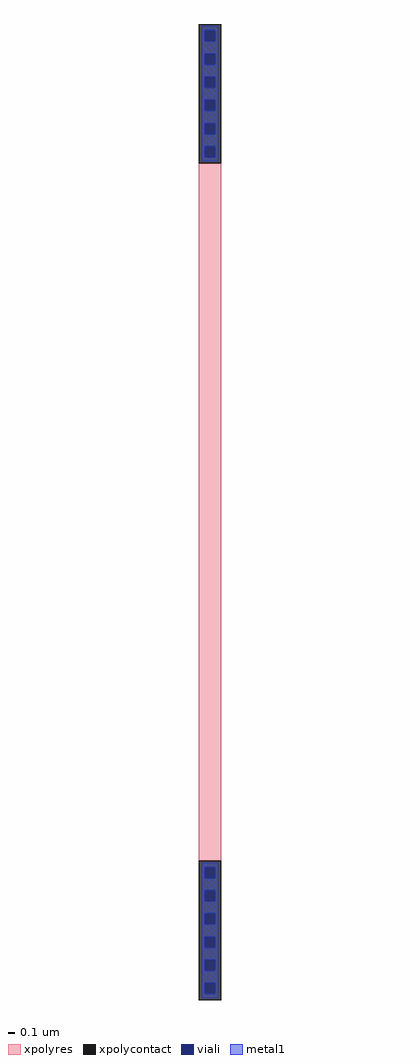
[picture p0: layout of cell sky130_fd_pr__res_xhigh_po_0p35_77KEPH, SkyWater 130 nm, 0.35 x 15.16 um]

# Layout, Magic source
magic
tech sky130A
magscale 1 2
<< xpolycontact >>
rect -35 1084 35 1516
rect -35 -1516 35 -1084
<< xpolyres >>
rect -35 -1084 35 1084
<< viali >>
rect -17 1462 17 1496
rect -17 1390 17 1424
rect -17 1318 17 1352
rect -17 1246 17 1280
rect -17 1174 17 1208
rect -17 1102 17 1136
rect -17 -1137 17 -1103
rect -17 -1209 17 -1175
rect -17 -1281 17 -1247
rect -17 -1353 17 -1319
rect -17 -1425 17 -1391
rect -17 -1497 17 -1463
<< metal1 >>
rect -25 1496 25 1510
rect -25 1462 -17 1496
rect 17 1462 25 1496
rect -25 1424 25 1462
rect -25 1390 -17 1424
rect 17 1390 25 1424
rect -25 1352 25 1390
rect -25 1318 -17 1352
rect 17 1318 25 1352
rect -25 1280 25 1318
rect -25 1246 -17 1280
rect 17 1246 25 1280
rect -25 1208 25 1246
rect -25 1174 -17 1208
rect 17 1174 25 1208
rect -25 1136 25 1174
rect -25 1102 -17 1136
rect 17 1102 25 1136
rect -25 1089 25 1102
rect -25 -1103 25 -1089
rect -25 -1137 -17 -1103
rect 17 -1137 25 -1103
rect -25 -1175 25 -1137
rect -25 -1209 -17 -1175
rect 17 -1209 25 -1175
rect -25 -1247 25 -1209
rect -25 -1281 -17 -1247
rect 17 -1281 25 -1247
rect -25 -1319 25 -1281
rect -25 -1353 -17 -1319
rect 17 -1353 25 -1319
rect -25 -1391 25 -1353
rect -25 -1425 -17 -1391
rect 17 -1425 25 -1391
rect -25 -1463 25 -1425
rect -25 -1497 -17 -1463
rect 17 -1497 25 -1463
rect -25 -1510 25 -1497
<< end >>
